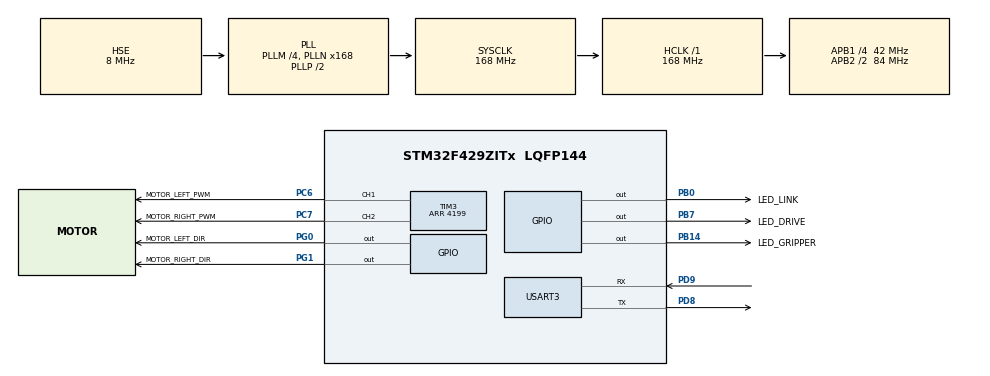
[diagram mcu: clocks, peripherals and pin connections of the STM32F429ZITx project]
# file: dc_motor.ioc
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Mcu.Family=STM32F4
Mcu.Name=STM32F429ZITx
Mcu.Package=LQFP144
NVIC.PriorityGroup=NVIC_PRIORITYGROUP_4
NVIC.TIM3_IRQn=true\:0\:0\:false\:false\:true\:true\:true\:true
NVIC.USART3_IRQn=true\:0\:0\:false\:false\:true\:true\:true\:true
PB0.GPIO_Label=LED_LINK
PB0.Signal=GPIO_Output
PB14.GPIO_Label=LED_GRIPPER
PB14.Signal=GPIO_Output
PB7.GPIO_Label=LED_DRIVE
PB7.Signal=GPIO_Output
PC6.GPIO_Label=MOTOR_LEFT_PWM
PC6.Signal=S_TIM3_CH1
PC7.GPIO_Label=MOTOR_RIGHT_PWM
PC7.Signal=S_TIM3_CH2
PD8.Mode=Asynchronous
PD8.Signal=USART3_TX
PD9.Mode=Asynchronous
PD9.Signal=USART3_RX
PG0.GPIO_Label=MOTOR_LEFT_DIR
PG0.Signal=GPIO_Output
PG1.GPIO_Label=MOTOR_RIGHT_DIR
PG1.Signal=GPIO_Output
PH0/OSC_IN.Mode=HSE-External-Clock-Source
PH0/OSC_IN.Signal=RCC_OSC_IN
PH1/OSC_OUT.Mode=HSE-External-Clock-Source
PH1/OSC_OUT.Signal=RCC_OSC_OUT
ProjectManager.HeapSize=0x200
ProjectManager.StackSize=0x400
ProjectManager.TargetToolchain=STM32CubeIDE
RCC.48MHZClocksFreq_Value=84000000
RCC.AHBFreq_Value=168000000
RCC.APB1CLKDivider=RCC_HCLK_DIV4
RCC.APB1Freq_Value=42000000
RCC.APB1TimFreq_Value=84000000
RCC.APB2CLKDivider=RCC_HCLK_DIV2
RCC.APB2Freq_Value=84000000
RCC.APB2TimFreq_Value=168000000
RCC.CortexFreq_Value=168000000
RCC.HCLKFreq_Value=168000000
RCC.HSE_VALUE=8000000
RCC.HSI_VALUE=16000000
RCC.LSE_VALUE=32768
RCC.PLLM=4
RCC.PLLN=168
RCC.PLLSourceVirtual=RCC_PLLSOURCE_HSE
RCC.SYSCLKFreq_VALUE=168000000
RCC.SYSCLKSource=RCC_SYSCLKSOURCE_PLLCLK
RCC.VCOOutputFreq_Value=336000000
SH.S_TIM3_CH1.0=TIM3_CH1,PWM Generation1 CH1
SH.S_TIM3_CH2.0=TIM3_CH2,PWM Generation2 CH2
TIM3.Channel-PWM\ Generation1\ CH1=TIM_CHANNEL_1
TIM3.Channel-PWM\ Generation2\ CH2=TIM_CHANNEL_2
TIM3.Period=4199
USART3.VirtualMode=VM_ASYNC
VP_TIM3_VS_ClockSourceINT.Mode=Internal
board=custom

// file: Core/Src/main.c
/* USER CODE BEGIN Header */
/**
  ******************************************************************************
  * @file           : main.c
  * @brief          : Main program body
  ******************************************************************************
  * @attention
  *
  * Copyright (c) 2026 STMicroelectronics.
  * All rights reserved.
  *
  * This software is licensed under terms that can be found in the LICENSE file
  * in the root directory of this software component.
  * If no LICENSE file comes with this software, it is provided AS-IS.
  *
  ******************************************************************************
  */
/* USER CODE END Header */
#include "main.h"

/* USER CODE BEGIN Includes */
#include "command_receiver.h"
#include "status_led.h"
#include "motor_driver.h"
/* USER CODE END Includes */

TIM_HandleTypeDef htim3;

UART_HandleTypeDef huart3;

void SystemClock_Config(void);
static void MX_GPIO_Init(void);
static void MX_USART3_UART_Init(void);
static void MX_TIM3_Init(void);

int main(void)
{

  /* MCU Configuration--------------------------------------------------------*/

  /* Reset of all peripherals, Initializes the Flash interface and the Systick. */
  HAL_Init();

  /* Configure the system clock */
  SystemClock_Config();

  /* Initialize all configured peripherals */
  MX_GPIO_Init();
  MX_USART3_UART_Init();
  MX_TIM3_Init();
  /* USER CODE BEGIN 2 */
  StatusLed_Init();
  CommandReceiver_Init(&huart3);

  if (MotorDriver_Init(&htim3) != HAL_OK)
  {
      Error_Handler();
  }

  MotorDriver_Stop();
  /* USER CODE END 2 */

  /* Infinite loop */
  /* USER CODE BEGIN WHILE */
  while (1)
  {
	  uint32_t now = HAL_GetTick();
	  bool link_ok;
	  uint8_t buttons;

	  link_ok = !CommandReceiver_IsTimedOut(
	      now,
	      200U
	  );

	  if (link_ok)
	  {
	      buttons = CommandReceiver_GetButtons();
	  }
	  else
	  {
	      buttons = 0U;
	  }

	  StatusLed_Update(buttons, link_ok);
    /* USER CODE END WHILE */

  }
}

void SystemClock_Config(void)
{
  RCC_OscInitTypeDef RCC_OscInitStruct = {0};
  RCC_ClkInitTypeDef RCC_ClkInitStruct = {0};

  /** Configure the main internal regulator output voltage
  */
  __HAL_RCC_PWR_CLK_ENABLE();
  __HAL_PWR_VOLTAGESCALING_CONFIG(PWR_REGULATOR_VOLTAGE_SCALE1);

  /** Initializes the RCC Oscillators according to the specified parameters
  * in the RCC_OscInitTypeDef structure.
  */
  RCC_OscInitStruct.OscillatorType = RCC_OSCILLATORTYPE_HSE;
  RCC_OscInitStruct.HSEState = RCC_HSE_BYPASS;
  RCC_OscInitStruct.PLL.PLLState = RCC_PLL_ON;
  RCC_OscInitStruct.PLL.PLLSource = RCC_PLLSOURCE_HSE;
  RCC_OscInitStruct.PLL.PLLM = 4;
  RCC_OscInitStruct.PLL.PLLN = 168;
  RCC_OscInitStruct.PLL.PLLP = RCC_PLLP_DIV2;
  RCC_OscInitStruct.PLL.PLLQ = 4;
  if (HAL_RCC_OscConfig(&RCC_OscInitStruct) != HAL_OK)
  {
    Error_Handler();
  }

  /** Initializes the CPU, AHB and APB buses clocks
  */
  RCC_ClkInitStruct.ClockType = RCC_CLOCKTYPE_HCLK|RCC_CLOCKTYPE_SYSCLK
                              |RCC_CLOCKTYPE_PCLK1|RCC_CLOCKTYPE_PCLK2;
  RCC_ClkInitStruct.SYSCLKSource = RCC_SYSCLKSOURCE_PLLCLK;
  RCC_ClkInitStruct.AHBCLKDivider = RCC_SYSCLK_DIV1;
  RCC_ClkInitStruct.APB1CLKDivider = RCC_HCLK_DIV4;
  RCC_ClkInitStruct.APB2CLKDivider = RCC_HCLK_DIV2;

  if (HAL_RCC_ClockConfig(&RCC_ClkInitStruct, FLASH_LATENCY_5) != HAL_OK)
  {
    Error_Handler();
  }
}

static void MX_TIM3_Init(void)
{

  TIM_ClockConfigTypeDef sClockSourceConfig = {0};
  TIM_MasterConfigTypeDef sMasterConfig = {0};
  TIM_OC_InitTypeDef sConfigOC = {0};

  htim3.Instance = TIM3;
  htim3.Init.Prescaler = 0;
  htim3.Init.CounterMode = TIM_COUNTERMODE_UP;
  htim3.Init.Period = 4199;
  htim3.Init.ClockDivision = TIM_CLOCKDIVISION_DIV1;
  htim3.Init.AutoReloadPreload = TIM_AUTORELOAD_PRELOAD_DISABLE;
  if (HAL_TIM_Base_Init(&htim3) != HAL_OK)
  {
    Error_Handler();
  }
  sClockSourceConfig.ClockSource = TIM_CLOCKSOURCE_INTERNAL;
  if (HAL_TIM_ConfigClockSource(&htim3, &sClockSourceConfig) != HAL_OK)
  {
    Error_Handler();
  }
  if (HAL_TIM_PWM_Init(&htim3) != HAL_OK)
  {
    Error_Handler();
  }
  sMasterConfig.MasterOutputTrigger = TIM_TRGO_RESET;
  sMasterConfig.MasterSlaveMode = TIM_MASTERSLAVEMODE_DISABLE;
  if (HAL_TIMEx_MasterConfigSynchronization(&htim3, &sMasterConfig) != HAL_OK)
  {
    Error_Handler();
  }
  sConfigOC.OCMode = TIM_OCMODE_PWM1;
  sConfigOC.Pulse = 0;
  sConfigOC.OCPolarity = TIM_OCPOLARITY_HIGH;
  sConfigOC.OCFastMode = TIM_OCFAST_DISABLE;
  if (HAL_TIM_PWM_ConfigChannel(&htim3, &sConfigOC, TIM_CHANNEL_1) != HAL_OK)
  {
    Error_Handler();
  }
  if (HAL_TIM_PWM_ConfigChannel(&htim3, &sConfigOC, TIM_CHANNEL_2) != HAL_OK)
  {
    Error_Handler();
  }
  HAL_TIM_MspPostInit(&htim3);

}

static void MX_USART3_UART_Init(void)
{

  huart3.Instance = USART3;
  huart3.Init.BaudRate = 115200;
  huart3.Init.WordLength = UART_WORDLENGTH_8B;
  huart3.Init.StopBits = UART_STOPBITS_1;
  huart3.Init.Parity = UART_PARITY_NONE;
  huart3.Init.Mode = UART_MODE_TX_RX;
  huart3.Init.HwFlowCtl = UART_HWCONTROL_NONE;
  huart3.Init.OverSampling = UART_OVERSAMPLING_16;
  if (HAL_UART_Init(&huart3) != HAL_OK)
  {
    Error_Handler();
  }

}

static void MX_GPIO_Init(void)
{
  GPIO_InitTypeDef GPIO_InitStruct = {0};

  /* GPIO Ports Clock Enable */
  __HAL_RCC_GPIOH_CLK_ENABLE();
  __HAL_RCC_GPIOB_CLK_ENABLE();
  __HAL_RCC_GPIOG_CLK_ENABLE();
  __HAL_RCC_GPIOD_CLK_ENABLE();
  __HAL_RCC_GPIOC_CLK_ENABLE();

  /*Configure GPIO pin Output Level */
  HAL_GPIO_WritePin(GPIOB, LED_LINK_Pin|LED_GRIPPER_Pin|LED_DRIVE_Pin, GPIO_PIN_RESET);

  /*Configure GPIO pin Output Level */
  HAL_GPIO_WritePin(GPIOG, MOTOR_LEFT_DIR_Pin|MOTOR_RIGHT_DIR_Pin, GPIO_PIN_RESET);

  /*Configure GPIO pins : LED_LINK_Pin LED_GRIPPER_Pin LED_DRIVE_Pin */
  GPIO_InitStruct.Pin = LED_LINK_Pin|LED_GRIPPER_Pin|LED_DRIVE_Pin;
  GPIO_InitStruct.Mode = GPIO_MODE_OUTPUT_PP;
  GPIO_InitStruct.Pull = GPIO_NOPULL;
  GPIO_InitStruct.Speed = GPIO_SPEED_FREQ_LOW;
  HAL_GPIO_Init(GPIOB, &GPIO_InitStruct);

  /*Configure GPIO pins : MOTOR_LEFT_DIR_Pin MOTOR_RIGHT_DIR_Pin */
  GPIO_InitStruct.Pin = MOTOR_LEFT_DIR_Pin|MOTOR_RIGHT_DIR_Pin;
  GPIO_InitStruct.Mode = GPIO_MODE_OUTPUT_PP;
  GPIO_InitStruct.Pull = GPIO_NOPULL;
  GPIO_InitStruct.Speed = GPIO_SPEED_FREQ_LOW;
  HAL_GPIO_Init(GPIOG, &GPIO_InitStruct);

}

/* USER CODE BEGIN 4 */
void HAL_UART_RxCpltCallback(
    UART_HandleTypeDef *huart
)
{
    CommandReceiver_HandleRxComplete(huart);
}

void HAL_UART_ErrorCallback(
    UART_HandleTypeDef *huart
)
{
    CommandReceiver_HandleError(huart);
}
/* USER CODE END 4 */

void Error_Handler(void)
{
  __disable_irq();
  while (1)
  {
  }
}
